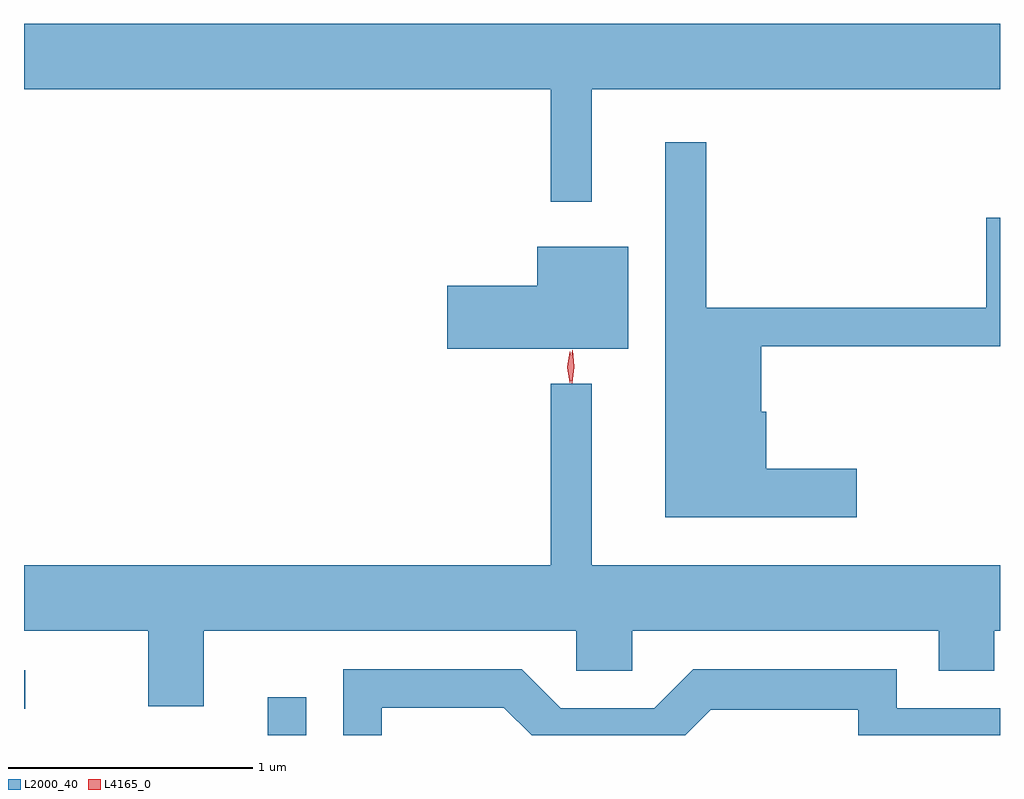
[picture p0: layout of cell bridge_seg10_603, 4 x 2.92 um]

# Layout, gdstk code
import gdstk
lib = gdstk.Library(unit=1e-6, precision=1e-09)
def R(c, l, rs):  # rectangles x0, y0, x1, y1
    for r in rs: c.add(gdstk.rectangle(r[:2], r[2:], *l))
def P(c, l, *ps):  # polygons
    for p in ps: c.add(gdstk.Polygon(p, *l))
L2000_40 = (2000, 40)
L4165_0 = (4165, 0)

bridge_seg10_603 = lib.new_cell('bridge_seg10_603')
R(bridge_seg10_603, L2000_40, [(637.471,2104.607,637.629,2104.763), (636.472,2104.716,636.478,2104.874)])
P(bridge_seg10_603, L2000_40, [(638.799,2107.256),(640.472,2107.256),(640.472,2107.524),(636.472,2107.524),(636.472,2107.256),(638.631,2107.256),(638.631,2106.793),(638.799,2106.793)],
  [(639.884,2105.699),(639.514,2105.699),(639.514,2105.934),(639.494,2105.934),(639.494,2106.201),(640.472,2106.201),(640.472,2106.729),(640.416,2106.729),(640.416,2106.359),(639.269,2106.359),(639.269,2107.038),(639.101,2107.038),(639.101,2105.501),(639.884,2105.501)],
  [(638.949,2106.609),(638.576,2106.609),(638.576,2106.449),(638.206,2106.449),(638.206,2106.191),(638.949,2106.191)],
  [(637.209,2105.036),(638.736,2105.036),(638.736,2104.871),(638.964,2104.871),(638.964,2105.036),(640.221,2105.036),(640.221,2104.871),(640.449,2104.871),(640.449,2105.036),(640.472,2105.036),(640.472,2105.304),(638.799,2105.304),(638.799,2106.048),(638.631,2106.048),(638.631,2105.304),(636.472,2105.304),(636.472,2105.036),(636.981,2105.036),(636.981,2104.726),(637.209,2104.726)],
  [(637.939,2104.721),(638.439,2104.721),(638.553,2104.607),(639.183,2104.607),(639.287,2104.711),(639.891,2104.711),(639.891,2104.607),(640.472,2104.607),(640.472,2104.719),(640.049,2104.719),(640.049,2104.879),(639.214,2104.879),(639.054,2104.719),(638.672,2104.719),(638.512,2104.879),(637.781,2104.879),(637.781,2104.607),(637.939,2104.607)])
P(bridge_seg10_603, L4165_0, [(638.717,2106.05),(638.717,2106.05),(638.708,2106.118),(638.718,2106.186),(638.719,2106.186),(638.72,2106.186),(638.728,2106.118),(638.718,2106.05)],
  [(638.709,2106.053),(638.699,2106.116),(638.708,2106.18),(638.709,2106.18),(638.71,2106.18),(638.719,2106.116),(638.71,2106.053),(638.71,2106.053)])

lib.write_gds('bridge_seg10_603.gds')
